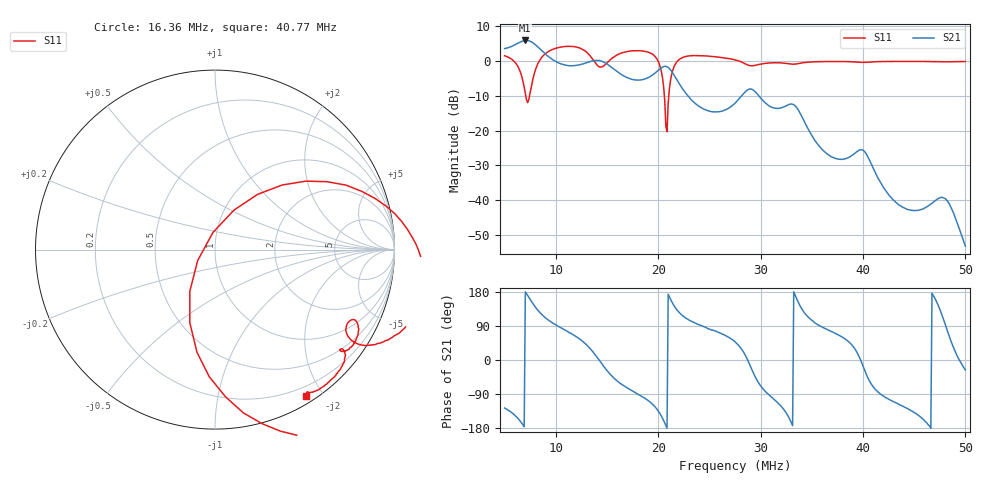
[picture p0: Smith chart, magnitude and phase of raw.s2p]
! S11/S21 only; reverse parameters are placeholders. Device calibration unverified.
! NanoVNA F V2 profile | COM3 | 2026-09-08T11:04:40.8372414-04:00 | device calibration unverified
# HZ S RI R 50
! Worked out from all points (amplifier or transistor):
!   401 points, 5 MHz to 50 MHz, reference 50 ohm
!   highest |S21| = 5.8 dB at 7.025 MHz (marker M1)
!   |S21| within 3 dB of that: start of sweep to 8.657 MHz
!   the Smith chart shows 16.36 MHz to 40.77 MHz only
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5000000  1.16 -0.2059  -0.893 -1.196  0 0  0 0
6125000  0.7418 -0.5187  -1.481 -0.8842  0 0  0 0
7025000  0.2684 -0.2054  -1.949 0.00648  0 0  0 0
8375000  0.4633 -0.8674  -0.916 1.203  0 0  0 0
1.0625e7  -0.1712 -1.565  0.1065 0.8828  0 0  0 0
1.25375e7  -1.075 -1.004  0.5596 0.6936  0 0  0 0
1.355e7  -1.069 0.1203  0.9044 0.4036  0 0  0 0
1.45625e7  0.1081 0.8167  0.9511 -0.2089  0 0  0 0
1.5575e7  1.046 0.3657  0.5483 -0.5505  0 0  0 0
1.68125e7  1.302 -0.3086  0.1915 -0.5539  0 0  0 0
1.8725e7  0.9993 -0.921  -0.108 -0.5383  0 0  0 0
2.0075e7  0.1571 -0.9091  -0.5477 -0.5047  0 0  0 0
2.075e7  -0.0964 -0.0606  -0.822 -0.1038  0 0  0 0
2.13125e7  0.5071 0.3816  -0.6343 0.3055  0 0  0 0
2.2775e7  1.154 -0.0671  -0.1091 0.3123  0 0  0 0
2.75e7  0.8824 -0.5302  0.1641 0.1831  0 0  0 0
2.98625e7  0.7892 -0.4011  0.1416 -0.2746  0 0  0 0
3.50375e7  0.7094 -0.6463  -0.0204 0.0807  0 0  0 0
4.01e7  0.513 -0.7932  0.047 -0.0197  0 0  0 0
4.2575e7  0.4451 -0.8655  -0.00292 -0.0113  0 0  0 0
4.7975e7  0.2371 -0.9357  -0.00162 0.0106  0 0  0 0
5e7  0.1693 -0.9577  0.00198 -0.000975  0 0  0 0
